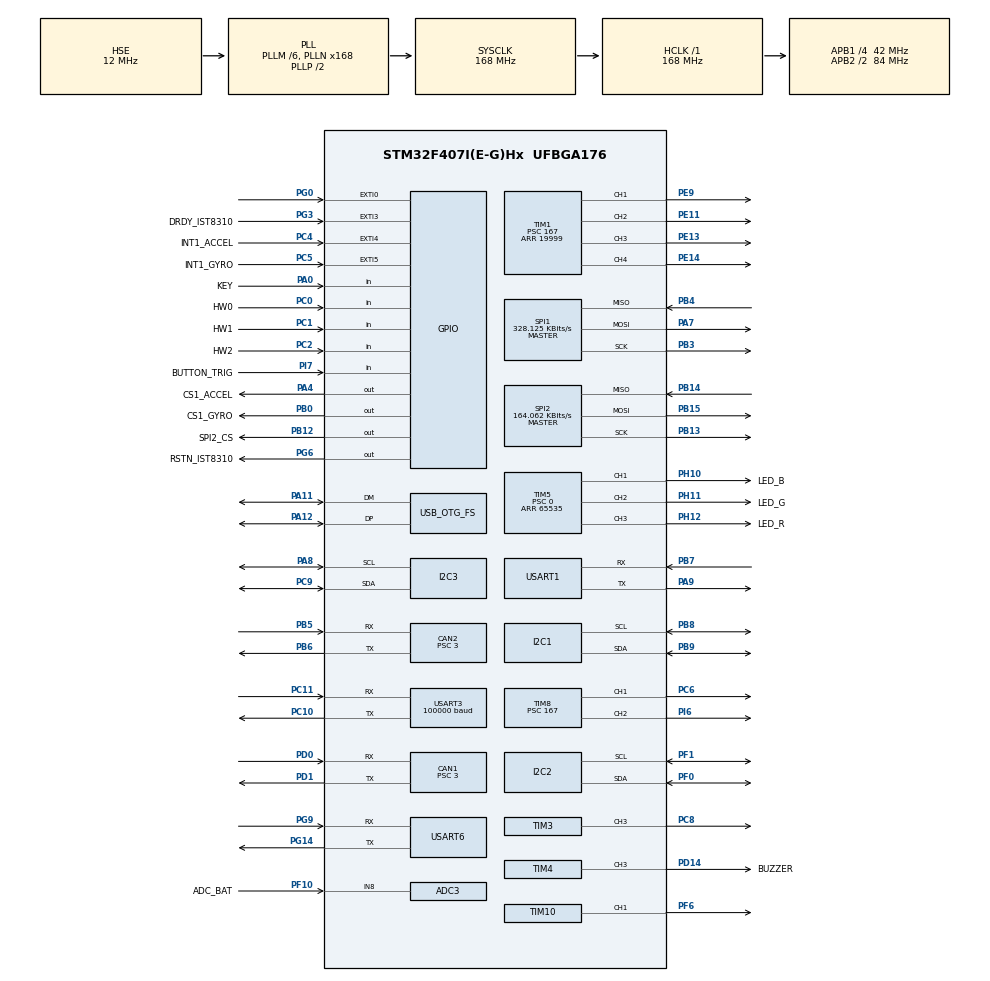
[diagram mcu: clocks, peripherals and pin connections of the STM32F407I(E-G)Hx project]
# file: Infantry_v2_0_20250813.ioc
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ADC1.Channel-0\#ChannelRegularConversion=ADC_CHANNEL_TEMPSENSOR
ADC1.ClockPrescaler=ADC_CLOCK_SYNC_PCLK_DIV6
ADC1.NbrOfConversionFlag=1
ADC1.Rank-0\#ChannelRegularConversion=1
ADC1.SamplingTime-0\#ChannelRegularConversion=ADC_SAMPLETIME_3CYCLES
ADC1.master=1
ADC3.Channel-0\#ChannelRegularConversion=ADC_CHANNEL_8
ADC3.ClockPrescaler=ADC_CLOCK_SYNC_PCLK_DIV6
ADC3.NbrOfConversionFlag=1
ADC3.Rank-0\#ChannelRegularConversion=1
ADC3.SamplingTime-0\#ChannelRegularConversion=ADC_SAMPLETIME_3CYCLES
CAN1.BS1=CAN_BS1_9TQ
CAN1.BS2=CAN_BS2_4TQ
CAN1.CalculateBaudRate=1000000
CAN1.CalculateTimeBit=1000
CAN1.CalculateTimeQuantum=71.42857142857143
CAN1.Prescaler=3
CAN2.BS1=CAN_BS1_9TQ
CAN2.BS2=CAN_BS2_4TQ
CAN2.CalculateBaudRate=1000000
CAN2.CalculateTimeBit=1000
CAN2.CalculateTimeQuantum=71.42857142857143
CAN2.Prescaler=3
Dma.I2C2_TX.2.Direction=DMA_MEMORY_TO_PERIPH
Dma.I2C2_TX.2.FIFOMode=DMA_FIFOMODE_DISABLE
Dma.I2C2_TX.2.Instance=DMA1_Stream7
Dma.I2C2_TX.2.MemDataAlignment=DMA_MDATAALIGN_BYTE
Dma.I2C2_TX.2.MemInc=DMA_MINC_ENABLE
Dma.I2C2_TX.2.Mode=DMA_NORMAL
Dma.I2C2_TX.2.PeriphDataAlignment=DMA_PDATAALIGN_BYTE
Dma.I2C2_TX.2.PeriphInc=DMA_PINC_DISABLE
Dma.I2C2_TX.2.Priority=DMA_PRIORITY_HIGH
Dma.Request0=SPI1_RX
Dma.Request1=SPI1_TX
Dma.Request2=I2C2_TX
Dma.Request3=USART3_RX
Dma.Request4=USART6_RX
Dma.Request5=USART6_TX
Dma.Request6=USART1_TX
Dma.Request7=USART1_RX
Dma.SPI1_RX.0.Direction=DMA_PERIPH_TO_MEMORY
Dma.SPI1_RX.0.FIFOMode=DMA_FIFOMODE_DISABLE
Dma.SPI1_RX.0.Instance=DMA2_Stream2
Dma.SPI1_RX.0.MemDataAlignment=DMA_MDATAALIGN_BYTE
Dma.SPI1_RX.0.MemInc=DMA_MINC_ENABLE
Dma.SPI1_RX.0.Mode=DMA_NORMAL
Dma.SPI1_RX.0.PeriphDataAlignment=DMA_PDATAALIGN_BYTE
Dma.SPI1_RX.0.PeriphInc=DMA_PINC_DISABLE
Dma.SPI1_RX.0.Priority=DMA_PRIORITY_VERY_HIGH
Dma.SPI1_TX.1.Direction=DMA_MEMORY_TO_PERIPH
Dma.SPI1_TX.1.FIFOMode=DMA_FIFOMODE_DISABLE
Dma.SPI1_TX.1.Instance=DMA2_Stream3
Dma.SPI1_TX.1.MemDataAlignment=DMA_MDATAALIGN_BYTE
Dma.SPI1_TX.1.MemInc=DMA_MINC_ENABLE
Dma.SPI1_TX.1.Mode=DMA_NORMAL
Dma.SPI1_TX.1.PeriphDataAlignment=DMA_PDATAALIGN_BYTE
Dma.SPI1_TX.1.PeriphInc=DMA_PINC_DISABLE
Dma.SPI1_TX.1.Priority=DMA_PRIORITY_HIGH
Dma.USART1_RX.7.Direction=DMA_PERIPH_TO_MEMORY
Dma.USART1_RX.7.FIFOMode=DMA_FIFOMODE_DISABLE
Dma.USART1_RX.7.Instance=DMA2_Stream5
Dma.USART1_RX.7.MemDataAlignment=DMA_MDATAALIGN_BYTE
Dma.USART1_RX.7.MemInc=DMA_MINC_ENABLE
Dma.USART1_RX.7.Mode=DMA_CIRCULAR
Dma.USART1_RX.7.PeriphDataAlignment=DMA_PDATAALIGN_BYTE
Dma.USART1_RX.7.PeriphInc=DMA_PINC_DISABLE
Dma.USART1_RX.7.Priority=DMA_PRIORITY_MEDIUM
Dma.USART1_TX.6.Direction=DMA_MEMORY_TO_PERIPH
Dma.USART1_TX.6.FIFOMode=DMA_FIFOMODE_DISABLE
Dma.USART1_TX.6.Instance=DMA2_Stream7
Dma.USART1_TX.6.MemDataAlignment=DMA_MDATAALIGN_BYTE
Dma.USART1_TX.6.MemInc=DMA_MINC_ENABLE
Dma.USART1_TX.6.Mode=DMA_NORMAL
Dma.USART1_TX.6.PeriphDataAlignment=DMA_PDATAALIGN_BYTE
Dma.USART1_TX.6.PeriphInc=DMA_PINC_DISABLE
Dma.USART1_TX.6.Priority=DMA_PRIORITY_MEDIUM
Dma.USART3_RX.3.Direction=DMA_PERIPH_TO_MEMORY
Dma.USART3_RX.3.FIFOMode=DMA_FIFOMODE_DISABLE
Dma.USART3_RX.3.Instance=DMA1_Stream1
Dma.USART3_RX.3.MemDataAlignment=DMA_MDATAALIGN_BYTE
Dma.USART3_RX.3.MemInc=DMA_MINC_ENABLE
Dma.USART3_RX.3.Mode=DMA_NORMAL
Dma.USART3_RX.3.PeriphDataAlignment=DMA_PDATAALIGN_BYTE
Dma.USART3_RX.3.PeriphInc=DMA_PINC_DISABLE
Dma.USART3_RX.3.Priority=DMA_PRIORITY_HIGH
Dma.USART6_RX.4.Direction=DMA_PERIPH_TO_MEMORY
Dma.USART6_RX.4.FIFOMode=DMA_FIFOMODE_DISABLE
Dma.USART6_RX.4.Instance=DMA2_Stream1
Dma.USART6_RX.4.MemDataAlignment=DMA_MDATAALIGN_BYTE
Dma.USART6_RX.4.MemInc=DMA_MINC_ENABLE
Dma.USART6_RX.4.Mode=DMA_NORMAL
Dma.USART6_RX.4.PeriphDataAlignment=DMA_PDATAALIGN_BYTE
Dma.USART6_RX.4.PeriphInc=DMA_PINC_DISABLE
Dma.USART6_RX.4.Priority=DMA_PRIORITY_HIGH
Dma.USART6_TX.5.Direction=DMA_MEMORY_TO_PERIPH
Dma.USART6_TX.5.FIFOMode=DMA_FIFOMODE_DISABLE
Dma.USART6_TX.5.Instance=DMA2_Stream6
Dma.USART6_TX.5.MemDataAlignment=DMA_MDATAALIGN_BYTE
Dma.USART6_TX.5.MemInc=DMA_MINC_ENABLE
Dma.USART6_TX.5.Mode=DMA_NORMAL
Dma.USART6_TX.5.PeriphDataAlignment=DMA_PDATAALIGN_BYTE
Dma.USART6_TX.5.PeriphInc=DMA_PINC_DISABLE
Dma.USART6_TX.5.Priority=DMA_PRIORITY_MEDIUM
FREERTOS.INCLUDE_eTaskGetState=1
FREERTOS.INCLUDE_pcTaskGetTaskName=1
FREERTOS.INCLUDE_uxTaskGetStackHighWaterMark=1
FREERTOS.INCLUDE_vTaskCleanUpResources=1
FREERTOS.INCLUDE_vTaskDelayUntil=1
FREERTOS.INCLUDE_xEventGroupSetBitFromISR=1
FREERTOS.INCLUDE_xQueueGetMutexHolder=1
FREERTOS.INCLUDE_xSemaphoreGetMutexHolder=1
FREERTOS.INCLUDE_xTaskAbortDelay=1
FREERTOS.INCLUDE_xTaskGetCurrentTaskHandle=1
FREERTOS.INCLUDE_xTaskGetHandle=1
FREERTOS.INCLUDE_xTimerPendFunctionCall=1
FREERTOS.Tasks01=test,24,128,test_task,As weak,NULL,Dynamic,NULL,NULL
FREERTOS.configTOTAL_HEAP_SIZE=24576
I2C1.I2C_Mode=I2C_Fast
I2C2.I2C_Mode=I2C_Fast
I2C3.I2C_Mode=I2C_Fast
IWDG.Prescaler=IWDG_PRESCALER_32
IWDG.Reload=500
Mcu.Family=STM32F4
Mcu.Name=STM32F407I(E-G)Hx
Mcu.Package=UFBGA176
NVIC.CAN1_RX0_IRQn=true\:6\:0\:true\:false\:true\:true\:true\:true\:true
NVIC.CAN2_RX0_IRQn=true\:6\:0\:true\:false\:true\:true\:true\:true\:true
NVIC.DMA1_Stream1_IRQn=true\:5\:0\:true\:false\:false\:true\:false\:false\:true
NVIC.DMA1_Stream7_IRQn=true\:5\:0\:true\:false\:false\:true\:false\:true\:true
NVIC.DMA2_Stream1_IRQn=true\:5\:0\:true\:false\:true\:true\:false\:true\:true
NVIC.DMA2_Stream2_IRQn=true\:5\:0\:true\:false\:false\:true\:false\:true\:true
NVIC.DMA2_Stream3_IRQn=true\:5\:0\:true\:false\:false\:true\:false\:true\:true
NVIC.DMA2_Stream5_IRQn=true\:5\:0\:false\:false\:true\:true\:false\:true\:true
NVIC.DMA2_Stream6_IRQn=true\:5\:0\:true\:false\:true\:true\:false\:true\:true
NVIC.DMA2_Stream7_IRQn=true\:5\:0\:true\:false\:true\:true\:false\:true\:true
NVIC.EXTI0_IRQn=true\:6\:0\:true\:false\:true\:true\:true\:true\:true
NVIC.EXTI3_IRQn=true\:5\:0\:true\:false\:true\:true\:true\:true\:true
NVIC.EXTI4_IRQn=true\:5\:0\:true\:false\:true\:true\:true\:true\:true
NVIC.EXTI9_5_IRQn=true\:5\:0\:true\:false\:true\:true\:true\:true\:true
NVIC.OTG_FS_IRQn=true\:5\:0\:false\:false\:true\:true\:false\:true\:true
NVIC.PriorityGroup=NVIC_PRIORITYGROUP_4
NVIC.USART1_IRQn=true\:5\:0\:false\:false\:true\:false\:true\:true\:true
NVIC.USART3_IRQn=true\:4\:0\:true\:false\:false\:false\:true\:true\:true
NVIC.USART6_IRQn=true\:5\:0\:true\:false\:false\:true\:true\:true\:true
PA0-WKUP.GPIO_Label=KEY
PA0-WKUP.GPIO_PuPd=GPIO_PULLUP
PA0-WKUP.Signal=GPIO_Input
PA11.Mode=Device_Only
PA11.Signal=USB_OTG_FS_DM
PA12.Mode=Device_Only
PA12.Signal=USB_OTG_FS_DP
PA13.Mode=Serial_Wire
PA13.Signal=SYS_JTMS-SWDIO
PA14.Mode=Serial_Wire
PA14.Signal=SYS_JTCK-SWCLK
PA4.GPIO_Label=CS1_ACCEL
PA4.GPIO_PuPd=GPIO_PULLUP
PA4.GPIO_Speed=GPIO_SPEED_FREQ_HIGH
PA4.PinState=GPIO_PIN_SET
PA4.Signal=GPIO_Output
PA7.GPIO_PuPd=GPIO_PULLUP
PA7.Mode=Full_Duplex_Master
PA7.Signal=SPI1_MOSI
PA8.GPIO_Pu=GPIO_PULLUP
PA8.Mode=I2C
PA8.Signal=I2C3_SCL
PA9.Mode=Asynchronous
PA9.Signal=USART1_TX
PB0.GPIO_Label=CS1_GYRO
PB0.GPIO_PuPd=GPIO_PULLUP
PB0.GPIO_Speed=GPIO_SPEED_FREQ_HIGH
PB0.PinState=GPIO_PIN_SET
PB0.Signal=GPIO_Output
PB12.GPIO_Label=SPI2_CS
PB12.GPIO_PuPd=GPIO_PULLUP
PB12.GPIO_Speed=GPIO_SPEED_FREQ_MEDIUM
PB12.PinState=GPIO_PIN_SET
PB12.Signal=GPIO_Output
PB13.GPIO_PuPd=GPIO_PULLUP
PB13.Mode=Full_Duplex_Master
PB13.Signal=SPI2_SCK
PB14.GPIO_PuPd=GPIO_PULLUP
PB14.Mode=Full_Duplex_Master
PB14.Signal=SPI2_MISO
PB15.GPIO_PuPd=GPIO_PULLUP
PB15.Mode=Full_Duplex_Master
PB15.Signal=SPI2_MOSI
PB3.GPIO_PuPd=GPIO_PULLUP
PB3.Mode=Full_Duplex_Master
PB3.Signal=SPI1_SCK
PB4.GPIO_PuPd=GPIO_PULLUP
PB4.Mode=Full_Duplex_Master
PB4.Signal=SPI1_MISO
PB5.Mode=CAN_Activate
PB5.Signal=CAN2_RX
PB6.Mode=CAN_Activate
PB6.Signal=CAN2_TX
PB7.Mode=Asynchronous
PB7.Signal=USART1_RX
PB8.GPIO_Pu=GPIO_PULLUP
PB8.Mode=I2C
PB8.Signal=I2C1_SCL
PB9.GPIO_Pu=GPIO_PULLUP
PB9.Mode=I2C
PB9.Signal=I2C1_SDA
PC0.GPIO_Label=HW0
PC0.Signal=GPIO_Input
PC1.GPIO_Label=HW1
PC1.Signal=GPIO_Input
PC10.Mode=Asynchronous
PC10.Signal=USART3_TX
PC11.Mode=Asynchronous
PC11.Signal=USART3_RX
PC2.GPIO_Label=HW2
PC2.Signal=GPIO_Input
PC4.GPIO_Label=INT1_ACCEL
PC4.GPIO_ModeDefaultEXTI=GPIO_MODE_IT_FALLING
PC4.GPIO_PuPd=GPIO_PULLUP
PC4.Signal=GPXTI4
PC5.GPIO_Label=INT1_GYRO
PC5.GPIO_ModeDefaultEXTI=GPIO_MODE_IT_FALLING
PC5.GPIO_PuPd=GPIO_PULLUP
PC5.Signal=GPXTI5
PC6.GPIO_PuPd=GPIO_PULLUP
PC6.GPIO_Speed=GPIO_SPEED_FREQ_HIGH
PC6.Signal=S_TIM8_CH1
PC8.GPIO_PuPd=GPIO_PULLUP
PC8.GPIO_Speed=GPIO_SPEED_FREQ_HIGH
PC8.Signal=S_TIM3_CH3
PC9.GPIO_Pu=GPIO_PULLUP
PC9.Mode=I2C
PC9.Signal=I2C3_SDA
PD0.Mode=CAN_Activate
PD0.Signal=CAN1_RX
PD1.Mode=CAN_Activate
PD1.Signal=CAN1_TX
PD14.GPIO_Label=BUZZER
PD14.GPIO_PuPd=GPIO_PULLUP
PD14.GPIO_Speed=GPIO_SPEED_FREQ_VERY_HIGH
PD14.Signal=S_TIM4_CH3
PE11.GPIO_PuPd=GPIO_PULLUP
PE11.GPIO_Speed=GPIO_SPEED_FREQ_HIGH
PE11.Signal=S_TIM1_CH2
PE13.GPIO_PuPd=GPIO_PULLUP
PE13.GPIO_Speed=GPIO_SPEED_FREQ_HIGH
PE13.Signal=S_TIM1_CH3
PE14.GPIO_PuPd=GPIO_PULLUP
PE14.GPIO_Speed=GPIO_SPEED_FREQ_HIGH
PE14.Signal=S_TIM1_CH4
PE9.GPIO_PuPd=GPIO_PULLUP
PE9.GPIO_Speed=GPIO_SPEED_FREQ_HIGH
PE9.Signal=S_TIM1_CH1
PF0.GPIO_Pu=GPIO_PULLUP
PF0.Mode=I2C
PF0.Signal=I2C2_SDA
PF1.GPIO_Pu=GPIO_PULLUP
PF1.Mode=I2C
PF1.Signal=I2C2_SCL
PF10.GPIO_Label=ADC_BAT
PF10.Mode=IN8
PF10.Signal=ADC3_IN8
PF6.GPIO_PuPd=GPIO_PULLUP
PF6.GPIO_Speed=GPIO_SPEED_FREQ_HIGH
PF6.Signal=S_TIM10_CH1
PG0.GPIO_ModeDefaultEXTI=GPIO_MODE_IT_FALLING
PG0.GPIO_PuPd=GPIO_PULLUP
PG0.Signal=GPXTI0
PG14.Mode=Asynchronous
PG14.Signal=USART6_TX
PG3.GPIO_Label=DRDY_IST8310
PG3.GPIO_ModeDefaultEXTI=GPIO_MODE_IT_FALLING
PG3.GPIO_PuPd=GPIO_PULLUP
PG3.Signal=GPXTI3
PG6.GPIO_Label=RSTN_IST8310
PG6.GPIO_PuPd=GPIO_PULLUP
PG6.GPIO_Speed=GPIO_SPEED_FREQ_MEDIUM
PG6.PinState=GPIO_PIN_SET
PG6.Signal=GPIO_Output
PG9.Mode=Asynchronous
PG9.Signal=USART6_RX
PH0-OSC_IN.Mode=HSE-External-Oscillator
PH0-OSC_IN.Signal=RCC_OSC_IN
PH1-OSC_OUT.Mode=HSE-External-Oscillator
PH1-OSC_OUT.Signal=RCC_OSC_OUT
PH10.GPIO_Label=LED_B
PH10.GPIO_PuPd=GPIO_PULLUP
PH10.GPIO_Speed=GPIO_SPEED_FREQ_HIGH
PH10.Signal=S_TIM5_CH1
PH11.GPIO_Label=LED_G
PH11.GPIO_PuPd=GPIO_PULLUP
PH11.GPIO_Speed=GPIO_SPEED_FREQ_HIGH
PH11.Signal=S_TIM5_CH2
PH12.GPIO_Label=LED_R
PH12.GPIO_PuPd=GPIO_PULLUP
PH12.GPIO_Speed=GPIO_SPEED_FREQ_HIGH
PH12.Signal=S_TIM5_CH3
PI6.GPIO_PuPd=GPIO_PULLUP
PI6.GPIO_Speed=GPIO_SPEED_FREQ_HIGH
PI6.Signal=S_TIM8_CH2
PI7.GPIO_Label=BUTTON_TRIG
PI7.GPIO_PuPd=GPIO_PULLUP
PI7.Signal=GPIO_Input
ProjectManager.HeapSize=0x2000
ProjectManager.StackSize=0x2000
ProjectManager.TargetToolchain=MDK-ARM V5.32
RCC.48MHZClocksFreq_Value=48000000
RCC.AHBFreq_Value=168000000
RCC.APB1CLKDivider=RCC_HCLK_DIV4
RCC.APB1Freq_Value=42000000
RCC.APB1TimFreq_Value=84000000
RCC.APB2CLKDivider=RCC_HCLK_DIV2
RCC.APB2Freq_Value=84000000
RCC.APB2TimFreq_Value=168000000
RCC.CortexFreq_Value=168000000
RCC.HCLKFreq_Value=168000000
RCC.HSE_VALUE=12000000
RCC.HSI_VALUE=16000000
RCC.LSE_VALUE=32768
RCC.PLLM=6
RCC.PLLN=168
RCC.PLLQ=7
RCC.RCC_RTC_Clock_SourceVirtual=RCC_RTCCLKSOURCE_HSE_DIV30
RCC.RCC_RTC_Clock_Source_FROM_HSE=RCC_RTCCLKSOURCE_HSE_DIV30
RCC.SYSCLKFreq_VALUE=168000000
RCC.SYSCLKSource=RCC_SYSCLKSOURCE_PLLCLK
RCC.VCOOutputFreq_Value=336000000
RTC.AsynchPrediv=124
RTC.SynchPrediv=3199
SH.S_TIM10_CH1.0=TIM10_CH1,PWM Generation1 CH1
SH.S_TIM1_CH1.0=TIM1_CH1,PWM Generation1 CH1
SH.S_TIM1_CH2.0=TIM1_CH2,PWM Generation2 CH2
SH.S_TIM1_CH3.0=TIM1_CH3,PWM Generation3 CH3
SH.S_TIM1_CH4.0=TIM1_CH4,PWM Generation4 CH4
SH.S_TIM3_CH3.0=TIM3_CH3,PWM Generation3 CH3
SH.S_TIM4_CH3.0=TIM4_CH3,PWM Generation3 CH3
SH.S_TIM5_CH1.0=TIM5_CH1,PWM Generation1 CH1
SH.S_TIM5_CH2.0=TIM5_CH2,PWM Generation2 CH2
SH.S_TIM5_CH3.0=TIM5_CH3,PWM Generation3 CH3
SH.S_TIM8_CH1.0=TIM8_CH1,PWM Generation1 CH1
SH.S_TIM8_CH2.0=TIM8_CH2,PWM Generation2 CH2
SPI1.BaudRatePrescaler=SPI_BAUDRATEPRESCALER_256
SPI1.CLKPhase=SPI_PHASE_2EDGE
SPI1.CLKPolarity=SPI_POLARITY_HIGH
SPI1.CalculateBaudRate=328.125 KBits/s
SPI1.Direction=SPI_DIRECTION_2LINES
SPI1.Mode=SPI_MODE_MASTER
SPI1.VirtualType=VM_MASTER
SPI2.BaudRatePrescaler=SPI_BAUDRATEPRESCALER_256
SPI2.CLKPhase=SPI_PHASE_2EDGE
SPI2.CLKPolarity=SPI_POLARITY_HIGH
SPI2.CalculateBaudRate=164.062 KBits/s
SPI2.Direction=SPI_DIRECTION_2LINES
SPI2.Mode=SPI_MODE_MASTER
SPI2.VirtualType=VM_MASTER
TIM1.Channel-PWM\ Generation1\ CH1=TIM_CHANNEL_1
TIM1.Channel-PWM\ Generation2\ CH2=TIM_CHANNEL_2
TIM1.Channel-PWM\ Generation3\ CH3=TIM_CHANNEL_3
TIM1.Channel-PWM\ Generation4\ CH4=TIM_CHANNEL_4
TIM1.Period=19999
TIM1.Prescaler=167
TIM1.Pulse-PWM\ Generation1\ CH1=1000
TIM1.Pulse-PWM\ Generation2\ CH2=1000
TIM1.Pulse-PWM\ Generation3\ CH3=1000
TIM1.Pulse-PWM\ Generation4\ CH4=1000
TIM10.Channel=TIM_CHANNEL_1
TIM10.Period=4999
TIM3.Channel-PWM\ Generation3\ CH3=TIM_CHANNEL_3
TIM3.Period=8399
TIM4.Channel-PWM\ Generation3\ CH3=TIM_CHANNEL_3
TIM4.Period=65535
TIM4.Prescaler=167
TIM5.Channel-PWM\ Generation1\ CH1=TIM_CHANNEL_1
TIM5.Channel-PWM\ Generation2\ CH2=TIM_CHANNEL_2
TIM5.Channel-PWM\ Generation3\ CH3=TIM_CHANNEL_3
TIM5.Period=65535
TIM5.Prescaler=0
TIM8.Channel-PWM\ Generation1\ CH1=TIM_CHANNEL_1
TIM8.Channel-PWM\ Generation2\ CH2=TIM_CHANNEL_2
TIM8.Period=19999
TIM8.Prescaler=167
TIM8.Pulse-PWM\ Generation1\ CH1=1000
TIM8.Pulse-PWM\ Generation2\ CH2=1000
USART1.VirtualMode=VM_ASYNC
USART3.BaudRate=100000
USART3.Parity=PARITY_EVEN
USART3.VirtualMode=VM_ASYNC
USART6.VirtualMode=VM_ASYNC
USB_DEVICE.CLASS_NAME_FS=CDC
USB_DEVICE.VirtualMode-CDC_FS=Cdc
USB_DEVICE.VirtualModeFS=Cdc_FS
USB_OTG_FS.VirtualMode=Device_Only
VP_ADC1_TempSens_Input.Mode=IN-TempSens
VP_ADC1_Vref_Input.Mode=IN-Vrefint
VP_CRC_VS_CRC.Mode=CRC_Activate
VP_FREERTOS_VS_CMSIS_V1.Mode=CMSIS_V1
VP_IWDG_VS_IWDG.Mode=IWDG_Activate
VP_RNG_VS_RNG.Mode=RNG_Activate
VP_RTC_VS_RTC_Activate.Mode=RTC_Enabled
VP_TIM10_VS_ClockSourceINT.Mode=Enable_Timer
VP_TIM1_VS_ClockSourceINT.Mode=Internal
VP_TIM3_VS_ClockSourceINT.Mode=Internal
VP_TIM4_VS_ClockSourceINT.Mode=Internal
VP_TIM5_VS_ClockSourceINT.Mode=Internal
VP_TIM8_VS_ClockSourceINT.Mode=Internal
VP_USB_DEVICE_VS_USB_DEVICE_CDC_FS.Mode=CDC_FS
board=custom

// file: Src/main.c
/* USER CODE BEGIN Header */
/**
  ******************************************************************************
  * @file           : main.c
  * @brief          : Main program body
  ******************************************************************************
  * @attention
  *
  * <h2><center>&copy; Copyright (c) 2019 STMicroelectronics.
  * All rights reserved.</center></h2>
  *
  * This software component is licensed by ST under Ultimate Liberty license
  * SLA0044, the "License"; You may not use this file except in compliance with
  * the License. You may obtain a copy of the License at:
  *                             www.st.com/SLA0044
  *
  ******************************************************************************
  */
/* USER CODE END Header */
#include "main.h"
#include "cmsis_os.h"
#include "adc.h"
#include "can.h"
#include "crc.h"
#include "dma.h"
#include "i2c.h"
#include "iwdg.h"
#include "rng.h"
#include "rtc.h"
#include "spi.h"
#include "tim.h"
#include "usart.h"
#include "usb_device.h"
#include "gpio.h"

/* USER CODE BEGIN Includes */
#include "bsp_can.h"
#include "bsp_delay.h"
#include "bsp_usart.h"
#include "calibrate_task.h"
#include "chassis_task.h"
#include "detect_task.h"
#include "gimbal_task.h"
#include "INS_task.h"
#include "led_flow_task.h"
#include "oled_task.h"
#include "referee.h"
#include "referee_usart_task.h"
#include "remote_control.h"
#include "usb_task.h"
#include "voltage_task.h"

/* USER CODE END Includes */

void SystemClock_Config(void);
void MX_FREERTOS_Init(void);

int main(void)
{

  /* MCU Configuration--------------------------------------------------------*/

  /* Reset of all peripherals, Initializes the Flash interface and the Systick. */
  HAL_Init();

  /* Configure the system clock */
  SystemClock_Config();

  /* Initialize all configured peripherals */
  MX_GPIO_Init();
  MX_DMA_Init();
  MX_ADC1_Init();
  MX_ADC3_Init();
  MX_CAN1_Init();
  MX_CAN2_Init();
  MX_I2C1_Init();
  MX_SPI1_Init();
  MX_TIM4_Init();
  MX_TIM5_Init();
  MX_USART3_UART_Init();
  MX_TIM8_Init();
  MX_CRC_Init();
  MX_RNG_Init();
  MX_I2C2_Init();
  MX_I2C3_Init();
  MX_RTC_Init();
  MX_SPI2_Init();
  MX_TIM1_Init();
  MX_TIM3_Init();
  MX_TIM10_Init();
  MX_USART1_UART_Init();
  MX_USART6_UART_Init();
//  MX_IWDG_Init();
  /* USER CODE BEGIN 2 */
	usart6_init(usart6_buf[0], usart6_buf[1], USART_RX_BUF_LENGHT);

	can_filter_init();
	delay_init();
	cali_param_init();
	remote_control_init();

	usart1_init();
	usart1_receive();
	#ifdef gimbal_board
		usart6_init(usart6_buf[0], usart6_buf[1], USART_RX_BUF_LENGHT);
	#endif // DEBUG

//	HAL_IWDG_Refresh(&hiwdg);
//	usart1_tx_dma_init();

  /* USER CODE END 2 */

  /* Call init function for freertos objects (in cmsis_os2.c) */
//  MX_FREERTOS_Init();

  /* Start scheduler */
//  osKernelStart();

  /* We should never get here as control is now taken by the scheduler */

  /* Infinite loop */
  /* USER CODE BEGIN WHILE */
  while (1)
  {
		referee_usart_task();
    /* USER CODE END WHILE */

  }
}

void SystemClock_Config(void)
{
  RCC_OscInitTypeDef RCC_OscInitStruct = {0};
  RCC_ClkInitTypeDef RCC_ClkInitStruct = {0};

  /** Configure the main internal regulator output voltage
  */
  __HAL_RCC_PWR_CLK_ENABLE();
  __HAL_PWR_VOLTAGESCALING_CONFIG(PWR_REGULATOR_VOLTAGE_SCALE1);

  /** Initializes the RCC Oscillators according to the specified parameters
  * in the RCC_OscInitTypeDef structure.
  */
  RCC_OscInitStruct.OscillatorType = RCC_OSCILLATORTYPE_LSI|RCC_OSCILLATORTYPE_HSE;
  RCC_OscInitStruct.HSEState = RCC_HSE_ON;
  RCC_OscInitStruct.LSIState = RCC_LSI_ON;
  RCC_OscInitStruct.PLL.PLLState = RCC_PLL_ON;
  RCC_OscInitStruct.PLL.PLLSource = RCC_PLLSOURCE_HSE;
  RCC_OscInitStruct.PLL.PLLM = 6;
  RCC_OscInitStruct.PLL.PLLN = 168;
  RCC_OscInitStruct.PLL.PLLP = RCC_PLLP_DIV2;
  RCC_OscInitStruct.PLL.PLLQ = 7;
  if (HAL_RCC_OscConfig(&RCC_OscInitStruct) != HAL_OK)
  {
    Error_Handler();
  }

  /** Initializes the CPU, AHB and APB buses clocks
  */
  RCC_ClkInitStruct.ClockType = RCC_CLOCKTYPE_HCLK|RCC_CLOCKTYPE_SYSCLK
                              |RCC_CLOCKTYPE_PCLK1|RCC_CLOCKTYPE_PCLK2;
  RCC_ClkInitStruct.SYSCLKSource = RCC_SYSCLKSOURCE_PLLCLK;
  RCC_ClkInitStruct.AHBCLKDivider = RCC_SYSCLK_DIV1;
  RCC_ClkInitStruct.APB1CLKDivider = RCC_HCLK_DIV4;
  RCC_ClkInitStruct.APB2CLKDivider = RCC_HCLK_DIV2;

  if (HAL_RCC_ClockConfig(&RCC_ClkInitStruct, FLASH_LATENCY_5) != HAL_OK)
  {
    Error_Handler();
  }
}

void Error_Handler(void)
{
  __disable_irq();
  while (1)
  {
  }
}
